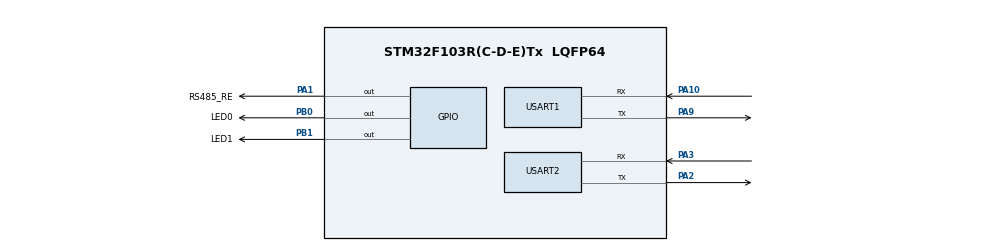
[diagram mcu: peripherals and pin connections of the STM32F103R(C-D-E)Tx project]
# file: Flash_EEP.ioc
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Mcu.Family=STM32F1
Mcu.Name=STM32F103R(C-D-E)Tx
Mcu.Package=LQFP64
NVIC.PriorityGroup=NVIC_PRIORITYGROUP_4
NVIC.USART1_IRQn=true\:0\:0\:false\:false\:true\:true\:true\:true
NVIC.USART2_IRQn=true\:0\:0\:false\:false\:true\:true\:true\:true
PA1.GPIO_Label=RS485_RE
PA1.GPIO_Speed=GPIO_SPEED_FREQ_HIGH
PA1.Signal=GPIO_Output
PA10.Mode=Asynchronous
PA10.Signal=USART1_RX
PA13.Mode=Serial_Wire
PA13.Signal=SYS_JTMS-SWDIO
PA14.Mode=Serial_Wire
PA14.Signal=SYS_JTCK-SWCLK
PA2.Mode=Asynchronous
PA2.Signal=USART2_TX
PA3.Mode=Asynchronous
PA3.Signal=USART2_RX
PA9.Mode=Asynchronous
PA9.Signal=USART1_TX
PB0.GPIO_Label=LED0
PB0.Signal=GPIO_Output
PB1.GPIO_Label=LED1
PB1.Signal=GPIO_Output
ProjectManager.HeapSize=0x200
ProjectManager.StackSize=0x400
ProjectManager.TargetToolchain=MDK-ARM V5.32
RCC.APB1Freq_Value=8000000
RCC.APB2Freq_Value=8000000
USART1.VirtualMode=VM_ASYNC
USART2.VirtualMode=VM_ASYNC
board=custom

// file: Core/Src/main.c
/* USER CODE BEGIN Header */
/**
  ******************************************************************************
  * @file           : main.c
  * @brief          : Main program body
  ******************************************************************************
  * @attention
  *
  * Copyright (c) 2025 STMicroelectronics.
  * All rights reserved.
  *
  * This software is licensed under terms that can be found in the LICENSE file
  * in the root directory of this software component.
  * If no LICENSE file comes with this software, it is provided AS-IS.
  *
  ******************************************************************************
  */
/* USER CODE END Header */
#include "main.h"

UART_HandleTypeDef huart1;
UART_HandleTypeDef huart2;

void SystemClock_Config(void);
static void MX_GPIO_Init(void);
static void MX_USART1_UART_Init(void);
static void MX_USART2_UART_Init(void);

/* USER CODE BEGIN 0 */

#include "string.h"
#include "flash_eep.h"

uint8_t write_buff[EEP_DATA_BLOCK_SIZE];
uint8_t read_buff[EEP_DATA_BLOCK_SIZE];

uint16_t eep_index = 0;
uint8_t data = 1;
uint8_t run_flag = 0;

/* USER CODE END 0 */

int main(void)
{

    /* MCU Configuration--------------------------------------------------------*/

    /* Reset of all peripherals, Initializes the Flash interface and the Systick. */
    HAL_Init();

    /* Configure the system clock */
    SystemClock_Config();

    /* Initialize all configured peripherals */
    MX_GPIO_Init();
    MX_USART1_UART_Init();
    MX_USART2_UART_Init();
    /* USER CODE BEGIN 2 */

    RS485_TX_EN();
    HAL_GPIO_WritePin(LED0_GPIO_Port, LED0_Pin, GPIO_PIN_SET);
    HAL_GPIO_WritePin(LED1_GPIO_Port, LED1_Pin, GPIO_PIN_SET);

//    while(run_flag == 0)
//    {
//        HAL_GPIO_TogglePin(LED0_GPIO_Port, LED0_Pin);
//        HAL_Delay(100);
//    }

    if(run_flag == 1)
    {
        eep_erase_page(EEP_INDEX_ADDR, EEP_PAGE_COUNT);
    }

    HAL_GPIO_WritePin(LED0_GPIO_Port, LED0_Pin, GPIO_PIN_SET);
    HAL_GPIO_WritePin(LED1_GPIO_Port, LED1_Pin, GPIO_PIN_SET);

    uint32_t task_cnt = 0;
    /* USER CODE END 2 */

    /* Infinite loop */
    /* USER CODE BEGIN WHILE */
    while (1)
    {

        eep_index = eep_get_write_index();

        memset(read_buff, 0, EEP_DATA_BLOCK_SIZE);
        eep_read_data(0, read_buff, EEP_DATA_BLOCK_SIZE);

        memset(write_buff, read_buff[0] + 1, EEP_DATA_BLOCK_SIZE);
        eep_write_data(0, write_buff, EEP_DATA_BLOCK_SIZE);

        memset(read_buff, 0, EEP_DATA_BLOCK_SIZE);
        eep_read_data(0, read_buff, EEP_DATA_BLOCK_SIZE);

        if(memcmp(read_buff, write_buff, EEP_DATA_BLOCK_SIZE) != 0)
        {
            HAL_GPIO_WritePin(LED0_GPIO_Port, LED0_Pin, GPIO_PIN_SET);
            HAL_GPIO_WritePin(LED1_GPIO_Port, LED1_Pin, GPIO_PIN_SET);
            while(1)
            {
                uint32_t err_addr = EEP_DATA_ADDR + (eep_index - 1) * EEP_DATA_BLOCK_SIZE;
                printf("eep_index = %u addr = 0x%x\r\n", eep_index, err_addr);
                HAL_GPIO_TogglePin(LED0_GPIO_Port, LED0_Pin);
                HAL_Delay(1000);
            }
        }

        data = read_buff[0] + 1;
        task_cnt++;
        if(task_cnt % 2 == 0)
        {
            HAL_GPIO_TogglePin(LED1_GPIO_Port, LED1_Pin);
        }
        printf("eep_index = %d\r\n", eep_index);
        HAL_Delay(10);
        /* USER CODE END WHILE */

    }
}

void SystemClock_Config(void)
{
    RCC_OscInitTypeDef RCC_OscInitStruct = {0};
    RCC_ClkInitTypeDef RCC_ClkInitStruct = {0};

    /** Initializes the RCC Oscillators according to the specified parameters
    * in the RCC_OscInitTypeDef structure.
    */
    RCC_OscInitStruct.OscillatorType = RCC_OSCILLATORTYPE_HSI;
    RCC_OscInitStruct.HSIState = RCC_HSI_ON;
    RCC_OscInitStruct.HSICalibrationValue = RCC_HSICALIBRATION_DEFAULT;
    RCC_OscInitStruct.PLL.PLLState = RCC_PLL_NONE;
    if (HAL_RCC_OscConfig(&RCC_OscInitStruct) != HAL_OK)
    {
        Error_Handler();
    }

    /** Initializes the CPU, AHB and APB buses clocks
    */
    RCC_ClkInitStruct.ClockType = RCC_CLOCKTYPE_HCLK | RCC_CLOCKTYPE_SYSCLK
                                  | RCC_CLOCKTYPE_PCLK1 | RCC_CLOCKTYPE_PCLK2;
    RCC_ClkInitStruct.SYSCLKSource = RCC_SYSCLKSOURCE_HSI;
    RCC_ClkInitStruct.AHBCLKDivider = RCC_SYSCLK_DIV1;
    RCC_ClkInitStruct.APB1CLKDivider = RCC_HCLK_DIV1;
    RCC_ClkInitStruct.APB2CLKDivider = RCC_HCLK_DIV1;

    if (HAL_RCC_ClockConfig(&RCC_ClkInitStruct, FLASH_LATENCY_0) != HAL_OK)
    {
        Error_Handler();
    }
}

static void MX_USART1_UART_Init(void)
{

    huart1.Instance = USART1;
    huart1.Init.BaudRate = 115200;
    huart1.Init.WordLength = UART_WORDLENGTH_8B;
    huart1.Init.StopBits = UART_STOPBITS_1;
    huart1.Init.Parity = UART_PARITY_NONE;
    huart1.Init.Mode = UART_MODE_TX_RX;
    huart1.Init.HwFlowCtl = UART_HWCONTROL_NONE;
    huart1.Init.OverSampling = UART_OVERSAMPLING_16;
    if (HAL_UART_Init(&huart1) != HAL_OK)
    {
        Error_Handler();
    }

}

static void MX_USART2_UART_Init(void)
{

    huart2.Instance = USART2;
    huart2.Init.BaudRate = 115200;
    huart2.Init.WordLength = UART_WORDLENGTH_8B;
    huart2.Init.StopBits = UART_STOPBITS_1;
    huart2.Init.Parity = UART_PARITY_NONE;
    huart2.Init.Mode = UART_MODE_TX_RX;
    huart2.Init.HwFlowCtl = UART_HWCONTROL_NONE;
    huart2.Init.OverSampling = UART_OVERSAMPLING_16;
    if (HAL_UART_Init(&huart2) != HAL_OK)
    {
        Error_Handler();
    }

}

static void MX_GPIO_Init(void)
{
    GPIO_InitTypeDef GPIO_InitStruct = {0};

    /* GPIO Ports Clock Enable */
    __HAL_RCC_GPIOA_CLK_ENABLE();
    __HAL_RCC_GPIOB_CLK_ENABLE();

    /*Configure GPIO pin Output Level */
    HAL_GPIO_WritePin(RS485_RE_GPIO_Port, RS485_RE_Pin, GPIO_PIN_RESET);

    /*Configure GPIO pin Output Level */
    HAL_GPIO_WritePin(GPIOB, LED0_Pin | LED1_Pin, GPIO_PIN_RESET);

    /*Configure GPIO pin : RS485_RE_Pin */
    GPIO_InitStruct.Pin = RS485_RE_Pin;
    GPIO_InitStruct.Mode = GPIO_MODE_OUTPUT_PP;
    GPIO_InitStruct.Pull = GPIO_NOPULL;
    GPIO_InitStruct.Speed = GPIO_SPEED_FREQ_HIGH;
    HAL_GPIO_Init(RS485_RE_GPIO_Port, &GPIO_InitStruct);

    /*Configure GPIO pins : LED0_Pin LED1_Pin */
    GPIO_InitStruct.Pin = LED0_Pin | LED1_Pin;
    GPIO_InitStruct.Mode = GPIO_MODE_OUTPUT_PP;
    GPIO_InitStruct.Pull = GPIO_NOPULL;
    GPIO_InitStruct.Speed = GPIO_SPEED_FREQ_LOW;
    HAL_GPIO_Init(GPIOB, &GPIO_InitStruct);

}

void Error_Handler(void)
{
    __disable_irq();
    while (1)
    {
    }
}
